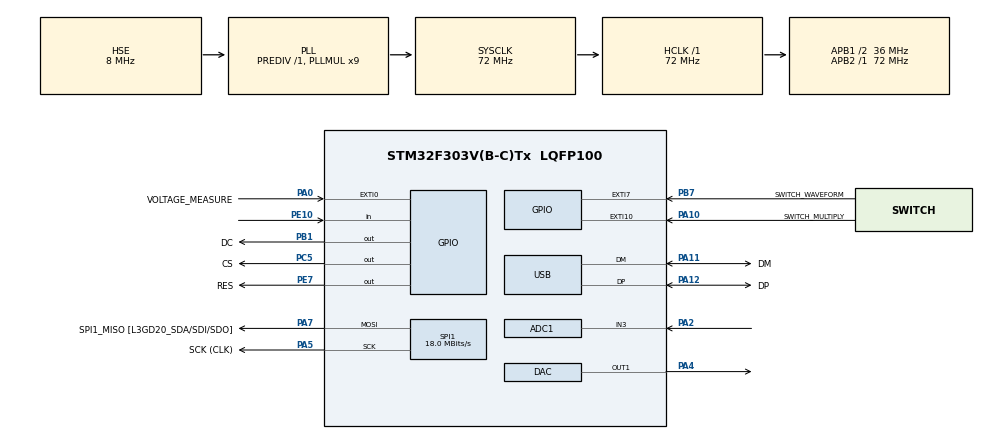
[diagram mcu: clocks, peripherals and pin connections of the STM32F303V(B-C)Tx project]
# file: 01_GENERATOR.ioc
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ADC1.Channel-2\#ChannelRegularConversion=ADC_CHANNEL_3
ADC1.ClockPrescaler=ADC_CLOCK_ASYNC_DIV1
ADC1.ContinuousConvMode=DISABLE
ADC1.DMAContinuousRequests=DISABLE
ADC1.NbrOfConversionFlag=1
ADC1.Offset-2\#ChannelRegularConversion=0
ADC1.OffsetNumber-2\#ChannelRegularConversion=ADC_OFFSET_NONE
ADC1.Rank-2\#ChannelRegularConversion=1
ADC1.SamplingTime-2\#ChannelRegularConversion=ADC_SAMPLETIME_1CYCLE_5
ADC1.master=1
DAC.DAC_Trigger=DAC_TRIGGER_T6_TRGO
Dma.DAC_CH1.0.Direction=DMA_MEMORY_TO_PERIPH
Dma.DAC_CH1.0.Instance=DMA1_Channel3
Dma.DAC_CH1.0.MemDataAlignment=DMA_MDATAALIGN_WORD
Dma.DAC_CH1.0.MemInc=DMA_MINC_ENABLE
Dma.DAC_CH1.0.Mode=DMA_CIRCULAR
Dma.DAC_CH1.0.PeriphDataAlignment=DMA_PDATAALIGN_WORD
Dma.DAC_CH1.0.PeriphInc=DMA_PINC_DISABLE
Dma.DAC_CH1.0.Priority=DMA_PRIORITY_LOW
Dma.Request0=DAC_CH1
Mcu.Family=STM32F3
Mcu.Name=STM32F303V(B-C)Tx
Mcu.Package=LQFP100
NVIC.DMA1_Channel3_IRQn=true\:0\:0\:false\:false\:true\:false\:true
NVIC.EXTI0_IRQn=true\:0\:0\:false\:false\:true\:true\:true
NVIC.EXTI15_10_IRQn=true\:0\:0\:false\:false\:true\:true\:true
NVIC.EXTI9_5_IRQn=true\:0\:0\:false\:false\:true\:true\:true
NVIC.PriorityGroup=NVIC_PRIORITYGROUP_0
NVIC.TIM6_DAC_IRQn=true\:0\:0\:false\:false\:true\:true\:true
PA0.GPIO_Label=VOLTAGE_MEASURE
PA0.GPIO_ModeDefaultEXTI=GPIO_MODE_IT_FALLING
PA0.Signal=GPXTI0
PA10.GPIO_Label=SWITCH_MULTIPLY
PA10.GPIO_ModeDefaultEXTI=GPIO_MODE_IT_FALLING
PA10.Signal=GPXTI10
PA11.GPIO_Label=DM
PA11.Mode=Device
PA11.Signal=USB_DM
PA12.GPIO_Label=DP
PA12.Mode=Device
PA12.Signal=USB_DP
PA13.GPIO_Label=SWDIO
PA13.Mode=Serial_Wire
PA13.Signal=SYS_JTMS-SWDIO
PA14.GPIO_Label=SWCLK
PA14.Mode=Serial_Wire
PA14.Signal=SYS_JTCK-SWCLK
PA2.Mode=IN3-Single-Ended
PA2.Signal=ADC1_IN3
PA4.Signal=COMP_DAC1_group
PA5.GPIO_Label=SCK (CLK)
PA5.Mode=TX_Only_Simplex_Unidirect_Master
PA5.Signal=SPI1_SCK
PA6.GPIO_Label=SPI1_MISO [L3GD20_SA0/SDO]
PA6.Signal=SPI1_MISO
PA7.GPIO_Label=SPI1_MISO [L3GD20_SDA/SDI/SDO]
PA7.Mode=TX_Only_Simplex_Unidirect_Master
PA7.Signal=SPI1_MOSI
PB1.GPIO_Label=DC
PB1.Signal=GPIO_Output
PB3.GPIO_Label=SWO
PB3.Signal=SYS_JTDO-TRACESWO
PB7.GPIO_Label=SWITCH_WAVEFORM
PB7.GPIO_ModeDefaultEXTI=GPIO_MODE_IT_FALLING
PB7.Signal=GPXTI7
PC14-OSC32_IN.GPIO_Label=OSC32_IN
PC14-OSC32_IN.Signal=RCC_OSC32_IN
PC15-OSC32_OUT.GPIO_Label=OSC32_OUT
PC15-OSC32_OUT.Signal=RCC_OSC32_OUT
PC5.GPIO_Label=CS
PC5.Signal=GPIO_Output
PE10.Signal=GPIO_Input
PE11.Signal=S_TIM1_CH2
PE7.GPIO_Label=RES
PE7.Signal=GPIO_Output
PE9.Signal=S_TIM1_CH1
PF0-OSC_IN.GPIO_Label=OSC_IN
PF0-OSC_IN.Mode=HSE-External-Oscillator
PF0-OSC_IN.Signal=RCC_OSC_IN
PF1-OSC_OUT.GPIO_Label=OSC_OUT
PF1-OSC_OUT.Mode=HSE-External-Oscillator
PF1-OSC_OUT.Signal=RCC_OSC_OUT
ProjectManager.HeapSize=0x200
ProjectManager.StackSize=0x400
ProjectManager.TargetToolchain=STM32CubeIDE
RCC.AHBFreq_Value=72000000
RCC.APB1CLKDivider=RCC_HCLK_DIV2
RCC.APB1Freq_Value=36000000
RCC.APB1TimFreq_Value=72000000
RCC.APB2Freq_Value=72000000
RCC.APB2TimFreq_Value=72000000
RCC.CortexFreq_Value=72000000
RCC.HCLKFreq_Value=72000000
RCC.HSE_VALUE=8000000
RCC.HSI_VALUE=8000000
RCC.LSE_VALUE=32768
RCC.PLLMUL=RCC_PLL_MUL9
RCC.PRESCALERUSB=RCC_USBCLKSOURCE_PLL_DIV1_5
RCC.SYSCLKFreq_VALUE=72000000
RCC.SYSCLKSourceVirtual=RCC_SYSCLKSOURCE_PLLCLK
RCC.USBFreq_Value=48000000
SH.COMP_DAC1_group.0=DAC_OUT1,DAC_OUT1
SH.S_TIM1_CH1.0=TIM1_CH1
SH.S_TIM1_CH2.0=TIM1_CH2
SPI1.BaudRatePrescaler=SPI_BAUDRATEPRESCALER_4
SPI1.CLKPhase=SPI_PHASE_2EDGE
SPI1.CLKPolarity=SPI_POLARITY_HIGH
SPI1.CalculateBaudRate=18.0 MBits/s
SPI1.DataSize=SPI_DATASIZE_8BIT
SPI1.Direction=SPI_DIRECTION_2LINES
SPI1.Mode=SPI_MODE_MASTER
SPI1.VirtualType=VM_MASTER
TIM6.Period=10-1
TIM6.Prescaler=72-1
TIM6.TIM_MasterOutputTrigger=TIM_TRGO_UPDATE
VP_TIM6_VS_ClockSourceINT.Mode=Enable_Timer
board=STM32F3DISCOVERY

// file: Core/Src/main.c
/* USER CODE BEGIN Header */
/**
  ******************************************************************************
  * @file           : main.c
  * @brief          : Main program body
  ******************************************************************************
  * @attention
  *
  * <h2><center>&copy; Copyright (c) 2021 STMicroelectronics.
  * All rights reserved.</center></h2>
  *
  * This software component is licensed by ST under BSD 3-Clause license,
  * the "License"; You may not use this file except in compliance with the
  * License. You may obtain a copy of the License at:
  *                        opensource.org/licenses/BSD-3-Clause
  *
  ******************************************************************************
  */
/* USER CODE END Header */
#include "main.h"

/* USER CODE BEGIN Includes */

#include "SSD1331.h"
#include "math.h"

/* USER CODE END Includes */

/* USER CODE BEGIN PM */
#define PI 3.14159265

/* USER CODE END PM */

ADC_HandleTypeDef hadc1;

DAC_HandleTypeDef hdac;
DMA_HandleTypeDef hdma_dac_ch1;

SPI_HandleTypeDef hspi1;

TIM_HandleTypeDef htim6;

PCD_HandleTypeDef hpcd_USB_FS;

/* USER CODE BEGIN PV */
//zmienne do przerwań
static uint8_t waveformCounter = 0; //zmienna do zmiany kształtu przebiegu
static uint8_t multiply = 0; //mnożnik częstotliwości

//zmienne dla adc
uint16_t adc_value = 0;
float voltage_conversion_num = 0;
float voltage_conversion_denum = 0;
float maximum_num = 0;
float maximum_denum = 0;
float nearest = 0.0;
const float supply_voltage = 3.0;
const float adc_resolution = 4095.0;
uint16_t i, j;
static uint8_t adc_counter = 0;
int d, adc_array_num[10], adc_array_denum[10], location;
uint8_t size = 10;

uint16_t changed_freq = 0;
int actual_freq = 1;
int last_freq = 0;

uint32_t switch_waveform_table[1024];

uint32_t squareTable[1024];

/* USER CODE END PV */

void SystemClock_Config(void);
static void MX_GPIO_Init(void);
static void MX_DMA_Init(void);
static void MX_SPI1_Init(void);
static void MX_USB_PCD_Init(void);
static void MX_DAC_Init(void);
static void MX_TIM6_Init(void);
static void MX_ADC1_Init(void);
/* USER CODE BEGIN PFP */

void freq_change(uint8_t multiply);
int find_max(int[], int);

const uint32_t sineTable[1024] = {2048,2060,2073,2085,2098,2110,2123,2136,2148,2161,
		2173,2186,2198,2211,2223,2236,2248,2261,2273,2286,
		2298,2311,2323,2336,2348,2361,2373,2385,2398,2410,
		2423,2435,2447,2460,2472,2484,2497,2509,2521,2533,
		2545,2558,2570,2582,2594,2606,2618,2630,2642,2654,
		2666,2678,2690,2702,2714,2726,2738,2750,2762,2773,
		2785,2797,2808,2820,2832,2843,2855,2866,2878,2889,
		2901,2912,2924,2935,2946,2958,2969,2980,2991,3002,
		3014,3025,3036,3047,3058,3069,3079,3090,3101,3112,
		3123,3133,3144,3154,3165,3176,3186,3196,3207,3217,
		3227,3238,3248,3258,3268,3278,3288,3298,3308,3318,
		3328,3338,3347,3357,3367,3376,3386,3395,3405,3414,
		3424,3433,3442,3451,3460,3470,3479,3487,3496,3505,
		3514,3523,3532,3540,3549,3557,3566,3574,3582,3591,
		3599,3607,3615,3623,3631,3639,3647,3655,3663,3670,
		3678,3686,3693,3701,3708,3715,3723,3730,3737,3744,
		3751,3758,3765,3772,3778,3785,3792,3798,3805,3811,
		3818,3824,3830,3836,3842,3848,3854,3860,3866,3872,
		3877,3883,3889,3894,3899,3905,3910,3915,3920,3925,
		3930,3935,3940,3945,3949,3954,3959,3963,3968,3972,
		3976,3980,3984,3988,3992,3996,4000,4004,4008,4011,
		4015,4018,4022,4025,4028,4031,4034,4037,4040,4043,
		4046,4049,4051,4054,4056,4059,4061,4063,4065,4067,
		4069,4071,4073,4075,4077,4078,4080,4081,4083,4084,
		4085,4087,4088,4089,4090,4091,4091,4092,4093,4093,
		4094,4094,4094,4095,4095,4095,4095,4095,4095,4095,
		4094,4094,4093,4093,4092,4092,4091,4090,4089,4088,
		4087,4086,4085,4084,4082,4081,4079,4078,4076,4074,
		4072,4070,4068,4066,4064,4062,4060,4057,4055,4052,
		4050,4047,4044,4042,4039,4036,4033,4030,4026,4023,
		4020,4016,4013,4009,4006,4002,3998,3994,3990,3986,
		3982,3978,3974,3970,3965,3961,3956,3952,3947,3942,
		3938,3933,3928,3923,3918,3913,3907,3902,3897,3891,
		3886,3880,3875,3869,3863,3857,3851,3845,3839,3833,
		3827,3821,3814,3808,3802,3795,3788,3782,3775,3768,
		3761,3755,3748,3740,3733,3726,3719,3712,3704,3697,
		3689,3682,3674,3667,3659,3651,3643,3635,3627,3619,
		3611,3603,3595,3587,3578,3570,3561,3553,3544,3536,
		3527,3518,3510,3501,3492,3483,3474,3465,3456,3447,
		3438,3428,3419,3410,3400,3391,3381,3372,3362,3352,
		3343,3333,3323,3313,3303,3293,3283,3273,3263,3253,
		3243,3233,3222,3212,3202,3191,3181,3170,3160,3149,
		3139,3128,3117,3106,3096,3085,3074,3063,3052,3041,
		3030,3019,3008,2997,2986,2975,2963,2952,2941,2929,
		2918,2907,2895,2884,2872,2861,2849,2838,2826,2814,
		2803,2791,2779,2767,2756,2744,2732,2720,2708,2696,
		2684,2672,2660,2648,2636,2624,2612,2600,2588,2576,
		2564,2552,2539,2527,2515,2503,2490,2478,2466,2453,
		2441,2429,2416,2404,2392,2379,2367,2354,2342,2330,
		2317,2305,2292,2280,2267,2255,2242,2230,2217,2205,
		2192,2179,2167,2154,2142,2129,2117,2104,2092,2079,
		2066,2054,2041,2029,2016,2003,1991,1978,1966,1953,
		1941,1928,1916,1903,1890,1878,1865,1853,1840,1828,
		1815,1803,1790,1778,1765,1753,1741,1728,1716,1703,
		1691,1679,1666,1654,1642,1629,1617,1605,1592,1580,
		1568,1556,1543,1531,1519,1507,1495,1483,1471,1459,
		1447,1435,1423,1411,1399,1387,1375,1363,1351,1339,
		1328,1316,1304,1292,1281,1269,1257,1246,1234,1223,
		1211,1200,1188,1177,1166,1154,1143,1132,1120,1109,
		1098,1087,1076,1065,1054,1043,1032,1021,1010,999,
		989,978,967,956,946,935,925,914,904,893,
		883,873,862,852,842,832,822,812,802,792,
		782,772,762,752,743,733,723,714,704,695,
		685,676,667,657,648,639,630,621,612,603,
		594,585,577,568,559,551,542,534,525,517,
		508,500,492,484,476,468,460,452,444,436,
		428,421,413,406,398,391,383,376,369,362,
		355,347,340,334,327,320,313,307,300,293,
		287,281,274,268,262,256,250,244,238,232,
		226,220,215,209,204,198,193,188,182,177,
		172,167,162,157,153,148,143,139,134,130,
		125,121,117,113,109,105,101,97,93,89,
		86,82,79,75,72,69,65,62,59,56,
		53,51,48,45,43,40,38,35,33,31,
		29,27,25,23,21,19,17,16,14,13,
		11,10,9,8,7,6,5,4,3,3,
		2,2,1,1,0,0,0,0,0,0,
		0,1,1,1,2,2,3,4,4,5,
		6,7,8,10,11,12,14,15,17,18,
		20,22,24,26,28,30,32,34,36,39,
		41,44,46,49,52,55,58,61,64,67,
		70,73,77,80,84,87,91,95,99,103,
		107,111,115,119,123,127,132,136,141,146,
		150,155,160,165,170,175,180,185,190,196,
		201,206,212,218,223,229,235,241,247,253,
		259,265,271,277,284,290,297,303,310,317,
		323,330,337,344,351,358,365,372,380,387,
		394,402,409,417,425,432,440,448,456,464,
		472,480,488,496,504,513,521,529,538,546,
		555,563,572,581,590,599,608,616,625,635,
		644,653,662,671,681,690,700,709,719,728,
		738,748,757,767,777,787,797,807,817,827,
		837,847,857,868,878,888,899,909,919,930,
		941,951,962,972,983,994,1005,1016,1026,1037,
		1048,1059,1070,1081,1093,1104,1115,1126,1137,1149,
		1160,1171,1183,1194,1206,1217,1229,1240,1252,1263,
		1275,1287,1298,1310,1322,1333,1345,1357,1369,1381,
		1393,1405,1417,1429,1441,1453,1465,1477,1489,1501,
		1513,1525,1537,1550,1562,1574,1586,1598,1611,1623,
		1635,1648,1660,1672,1685,1697,1710,1722,1734,1747,
		1759,1772,1784,1797,1809,1822,1834,1847,1859,1872,
		1884,1897,1909,1922,1934,1947,1959,1972,1985,1997,
		2010,2022,2035,2048};

const uint32_t triangleTable[1024] = {8,16,24,32,40,48,56,64,72,80,
		88,96,104,112,120,128,136,144,152,160,
		168,176,184,192,200,208,216,224,232,240,
		248,256,264,272,280,288,296,304,312,320,
		328,336,344,352,360,368,376,384,392,400,
		408,416,424,432,440,448,456,464,472,480,
		488,496,504,512,520,528,536,544,552,560,
		568,576,584,592,600,608,616,624,632,640,
		648,656,664,672,680,689,697,705,713,721,
		729,737,745,753,761,769,777,785,793,801,
		809,817,825,833,841,849,857,865,873,881,
		889,897,905,913,921,929,937,945,953,961,
		969,977,985,993,1001,1009,1017,1025,1033,1041,
		1049,1057,1065,1073,1081,1089,1097,1105,1113,1121,
		1129,1137,1145,1153,1161,1169,1177,1185,1193,1201,
		1209,1217,1225,1233,1241,1249,1257,1265,1273,1281,
		1289,1297,1305,1313,1321,1329,1337,1345,1353,1361,
		1369,1377,1385,1393,1401,1409,1417,1425,1433,1441,
		1449,1457,1465,1473,1481,1489,1497,1505,1513,1521,
		1529,1537,1545,1553,1561,1569,1577,1585,1593,1601,
		1609,1617,1625,1633,1641,1649,1657,1665,1673,1681,
		1689,1697,1705,1713,1721,1729,1737,1745,1753,1761,
		1769,1777,1785,1793,1801,1809,1817,1825,1833,1841,
		1849,1857,1865,1873,1881,1889,1897,1905,1913,1921,
		1929,1937,1945,1953,1961,1969,1977,1985,1993,2001,
		2009,2017,2025,2033,2041,2050,2058,2066,2074,2082,
		2090,2098,2106,2114,2122,2130,2138,2146,2154,2162,
		2170,2178,2186,2194,2202,2210,2218,2226,2234,2242,
		2250,2258,2266,2274,2282,2290,2298,2306,2314,2322,
		2330,2338,2346,2354,2362,2370,2378,2386,2394,2402,
		2410,2418,2426,2434,2442,2450,2458,2466,2474,2482,
		2490,2498,2506,2514,2522,2530,2538,2546,2554,2562,
		2570,2578,2586,2594,2602,2610,2618,2626,2634,2642,
		2650,2658,2666,2674,2682,2690,2698,2706,2714,2722,
		2730,2738,2746,2754,2762,2770,2778,2786,2794,2802,
		2810,2818,2826,2834,2842,2850,2858,2866,2874,2882,
		2890,2898,2906,2914,2922,2930,2938,2946,2954,2962,
		2970,2978,2986,2994,3002,3010,3018,3026,3034,3042,
		3050,3058,3066,3074,3082,3090,3098,3106,3114,3122,
		3130,3138,3146,3154,3162,3170,3178,3186,3194,3202,
		3210,3218,3226,3234,3242,3250,3258,3266,3274,3282,
		3290,3298,3306,3314,3322,3330,3338,3346,3354,3362,
		3370,3378,3386,3394,3402,3410,3419,3427,3435,3443,
		3451,3459,3467,3475,3483,3491,3499,3507,3515,3523,
		3531,3539,3547,3555,3563,3571,3579,3587,3595,3603,
		3611,3619,3627,3635,3643,3651,3659,3667,3675,3683,
		3691,3699,3707,3715,3723,3731,3739,3747,3755,3763,
		3771,3779,3787,3795,3803,3811,3819,3827,3835,3843,
		3851,3859,3867,3875,3883,3891,3899,3907,3915,3923,
		3931,3939,3947,3955,3963,3971,3979,3987,3995,4003,
		4011,4019,4027,4035,4043,4051,4059,4067,4075,4083,
		4091,4095,4091,4083,4075,4067,4059,4051,4043,4035,
		4027,4019,4011,4003,3995,3987,3979,3971,3963,3955,
		3947,3939,3931,3923,3915,3907,3899,3891,3883,3875,
		3867,3859,3851,3843,3835,3827,3819,3811,3803,3795,
		3787,3779,3771,3763,3755,3747,3739,3731,3723,3715,
		3707,3699,3691,3683,3675,3667,3659,3651,3643,3635,
		3627,3619,3611,3603,3595,3587,3579,3571,3563,3555,
		3547,3539,3531,3523,3515,3507,3499,3491,3483,3475,
		3467,3459,3451,3443,3435,3427,3419,3410,3402,3394,
		3386,3378,3370,3362,3354,3346,3338,3330,3322,3314,
		3306,3298,3290,3282,3274,3266,3258,3250,3242,3234,
		3226,3218,3210,3202,3194,3186,3178,3170,3162,3154,
		3146,3138,3130,3122,3114,3106,3098,3090,3082,3074,
		3066,3058,3050,3042,3034,3026,3018,3010,3002,2994,
		2986,2978,2970,2962,2954,2946,2938,2930,2922,2914,
		2906,2898,2890,2882,2874,2866,2858,2850,2842,2834,
		2826,2818,2810,2802,2794,2786,2778,2770,2762,2754,
		2746,2738,2730,2722,2714,2706,2698,2690,2682,2674,
		2666,2658,2650,2642,2634,2626,2618,2610,2602,2594,
		2586,2578,2570,2562,2554,2546,2538,2530,2522,2514,
		2506,2498,2490,2482,2474,2466,2458,2450,2442,2434,
		2426,2418,2410,2402,2394,2386,2378,2370,2362,2354,
		2346,2338,2330,2322,2314,2306,2298,2290,2282,2274,
		2266,2258,2250,2242,2234,2226,2218,2210,2202,2194,
		2186,2178,2170,2162,2154,2146,2138,2130,2122,2114,
		2106,2098,2090,2082,2074,2066,2058,2050,2041,2033,
		2025,2017,2009,2001,1993,1985,1977,1969,1961,1953,
		1945,1937,1929,1921,1913,1905,1897,1889,1881,1873,
		1865,1857,1849,1841,1833,1825,1817,1809,1801,1793,
		1785,1777,1769,1761,1753,1745,1737,1729,1721,1713,
		1705,1697,1689,1681,1673,1665,1657,1649,1641,1633,
		1625,1617,1609,1601,1593,1585,1577,1569,1561,1553,
		1545,1537,1529,1521,1513,1505,1497,1489,1481,1473,
		1465,1457,1449,1441,1433,1425,1417,1409,1401,1393,
		1385,1377,1369,1361,1353,1345,1337,1329,1321,1313,
		1305,1297,1289,1281,1273,1265,1257,1249,1241,1233,
		1225,1217,1209,1201,1193,1185,1177,1169,1161,1153,
		1145,1137,1129,1121,1113,1105,1097,1089,1081,1073,
		1065,1057,1049,1041,1033,1025,1017,1009,1001,993,
		985,977,969,961,953,945,937,929,921,913,
		905,897,889,881,873,865,857,849,841,833,
		825,817,809,801,793,785,777,769,761,753,
		745,737,729,721,713,705,697,689,680,672,
		664,656,648,640,632,624,616,608,600,592,
		584,576,568,560,552,544,536,528,520,512,
		504,496,488,480,472,464,456,448,440,432,
		424,416,408,400,392,384,376,368,360,352,
		344,336,328,320,312,304,296,288,280,272,
		264,256,248,240,232,224,216,208,200,192,
		184,176,168,160,152,144,136,128,120,112,
		104,96,88,80,72,64,56,48,40,32,
		24,16,8,0};

void square_fill()
{
	for(int i = 0 ; i<1024; i++)
	{
		if(i<512){
			squareTable[i] = 0xfff; //4095
		}
		else
			squareTable[i] = 0;
	}
}

int find_max(int a[], int n) {
	int index = 0;

	for (int d = 1; d < n; d++)
		    if (a[d] > a[index])
		      index = d;

	return index;
}

//procedura obsługi przerwania dla przycisków od wybrania przebiegu oraz zmiany mnożnika częstotliwości
void HAL_GPIO_EXTI_Callback(uint16_t GPIO_Pin){
		if(GPIO_Pin == SWITCH_WAVEFORM_Pin){
			//generacja przebiegu sinusoidalnego
			if(waveformCounter == 0){
				ssd1331_clear_shape(BLACK);
				for (uint16_t i = 0; i < 1024; i++){
					switch_waveform_table[i] = sineTable[i];
					ssd1331_display_string(30, 45, (const uint8_t*)"SINE", FONT_1608, GREEN);
				}
			}
			//generacja przebiegu prostokątnego
			else if(waveformCounter == 1){
				ssd1331_clear_shape(BLACK);
				for (uint16_t i = 0; i < 1024; i++){
					switch_waveform_table[i] = squareTable[i];
					ssd1331_display_string(30, 45, (const uint8_t*)"SQUARE", FONT_1608, GREEN);
				}
			}
			//generacja przebiegu trójkątnego
			else if(waveformCounter == 2){
				ssd1331_clear_shape(BLACK);
				for (uint16_t i = 0; i < 1024; i++){
					switch_waveform_table[i] = triangleTable[i];
					ssd1331_display_string(30, 45, (const uint8_t*)"TRIANGLE", FONT_1608, GREEN);
				}
			}

			waveformCounter++;
			if(waveformCounter > 2){
				waveformCounter = 0;
			}
		}

		if(GPIO_Pin == SWITCH_MULTIPLY_Pin){
			if(multiply == 0){
				ssd1331_clear_freq(BLACK);
				ssd1331_clear_multiply(BLACK);
				freq_change(multiply); //zmiana nastaw timera6 -> zmiana częstotliwości przebiegu
				ssd1331_display_num(40, 15, 1, 5, FONT_1608, GREEN);
				ssd1331_display_num(50, 30, multiply, 1 , FONT_1608, GREEN);
			}
			else if(multiply == 1){
				ssd1331_clear_freq(BLACK);
				ssd1331_clear_multiply(BLACK);
				freq_change(multiply); //zmiana nastaw timera6 -> zmiana częstotliwości przebiegu
				ssd1331_display_num(40, 15, 10, 5, FONT_1608, GREEN);
				ssd1331_display_num(50, 30, multiply, 1 , FONT_1608, GREEN);
			}
			else if(multiply == 2){
				ssd1331_clear_freq(BLACK);
				ssd1331_clear_multiply(BLACK);
				freq_change(multiply); //zmiana nastaw timera6 -> zmiana częstotliwości przebiegu
				ssd1331_display_num(40, 15, 100, 5, FONT_1608, GREEN);
				ssd1331_display_num(50, 30, multiply, 1 , FONT_1608, GREEN);
			}
			else if(multiply == 3){
				ssd1331_clear_freq(BLACK);
				ssd1331_clear_multiply(BLACK);
				freq_change(multiply); //zmiana nastaw timera6 -> zmiana częstotliwości przebiegu
				ssd1331_display_num(40, 15, 1000, 5, FONT_1608, GREEN);
				ssd1331_display_num(50, 30, multiply, 1 , FONT_1608, GREEN);
			}
			multiply++;
			if(multiply == 4){
				multiply = 0;
			}
		}
		if(GPIO_Pin == VOLTAGE_MEASURE_Pin){
			ssd1331_clear_amp(BLACK);

			if (HAL_ADC_PollForConversion(&hadc1, 10) == HAL_OK) { // Oczekiwanie na zakonczenie konwersji
				adc_value = HAL_ADC_GetValue(&hadc1);// Pobranie zmierzonej wartosci
				voltage_conversion_num = (supply_voltage*adc_value)/adc_resolution;// Przeliczenie wartosci zmierzonej na napiecie
				nearest = roundf(voltage_conversion_num * 100) / 100;
				voltage_conversion_denum = (uint16_t)(nearest*100) % 100;
				HAL_ADC_Start(&hadc1);// Rozpoczecie nowej konwersji
			}

			adc_array_num[adc_counter] = voltage_conversion_num;
			adc_array_denum[adc_counter] = voltage_conversion_denum;

			adc_counter++;
			if(adc_counter == 10){
				adc_counter = 0;

				location = find_max(adc_array_num, size);
				maximum_num  = adc_array_num[location];

				location = find_max(adc_array_denum, size);
				maximum_denum  = adc_array_denum[location];

				ssd1331_display_num(32, 0, maximum_num, 2 , FONT_1608, GREEN);
				ssd1331_display_char(48, 0, '.', FONT_1608, GREEN);
				ssd1331_display_num(51, 0, maximum_denum, 2 , FONT_1608, GREEN);
				ssd1331_display_char(70, 0, 'V', FONT_1608, GREEN);

				for(int i=0; i<10; i++){
					adc_array_num[i] = 0;
					adc_array_denum[i] = 0;
				}

			}
		}

}

void freq_change(uint8_t multiply)
{
	switch (multiply)
	{
	case 0: //1 Hz
		TIM6->PSC = 6;
		TIM6->ARR = 10085;
		TIM6->CNT = 0;
		break;
	case 1: //10 Hz
		TIM6->PSC = 7;
		TIM6->ARR = 878;
		TIM6->CNT = 0;
		break;
	case 2: //100 Hz
		TIM6->PSC = 7;
		TIM6->ARR = 87;
		TIM6->CNT = 0;
		break;
	case 3: //1000 Hz
		TIM6->PSC = 6;
		TIM6->ARR = 9;
		TIM6->CNT = 0;
		break;
	default:
		break;
	}
}

/* USER CODE END PFP */

int main(void)
{

  /* MCU Configuration--------------------------------------------------------*/

  /* Reset of all peripherals, Initializes the Flash interface and the Systick. */
  HAL_Init();

  /* Configure the system clock */
  SystemClock_Config();

  /* Initialize all configured peripherals */
  MX_GPIO_Init();
  MX_DMA_Init();
  MX_SPI1_Init();
  MX_USB_PCD_Init();
  MX_DAC_Init();
  MX_TIM6_Init();
  MX_ADC1_Init();
  /* USER CODE BEGIN 2 */

  square_fill();

  HAL_TIM_Base_Start(&htim6); //uruchomienie timer6 od DAC

  ssd1331_init();
  ssd1331_clear_screen(BLACK);
  ssd1331_display_string(0, 0, (const uint8_t*)"VPP: ", FONT_1608, GREEN);
  ssd1331_display_string(0, 15, (const uint8_t*)"FREQ: ", FONT_1608, GREEN);
  ssd1331_display_string(0, 30, (const uint8_t*)"MUL: ", FONT_1608, GREEN);
  ssd1331_display_string(0, 45, (const uint8_t*)"SW: ", FONT_1608, GREEN);
  ssd1331_display_string(80, 15, (const uint8_t*)"Hz ", FONT_1608, GREEN);

  HAL_ADC_Start(&hadc1);

  /* USER CODE END 2 */

  /* Infinite loop */
  /* USER CODE BEGIN WHILE */
  while (1)
  {
	  HAL_DAC_Start_DMA(&hdac, DAC_CHANNEL_1, (uint32_t*)switch_waveform_table, 1023, DAC_ALIGN_12B_R); //generacja określonego przebiegu o określonej częstotliwości

    /* USER CODE END WHILE */

  }
}

void SystemClock_Config(void)
{
  RCC_OscInitTypeDef RCC_OscInitStruct = {0};
  RCC_ClkInitTypeDef RCC_ClkInitStruct = {0};
  RCC_PeriphCLKInitTypeDef PeriphClkInit = {0};

  /** Initializes the RCC Oscillators according to the specified parameters
  * in the RCC_OscInitTypeDef structure.
  */
  RCC_OscInitStruct.OscillatorType = RCC_OSCILLATORTYPE_HSE;
  RCC_OscInitStruct.HSEState = RCC_HSE_ON;
  RCC_OscInitStruct.HSEPredivValue = RCC_HSE_PREDIV_DIV1;
  RCC_OscInitStruct.HSIState = RCC_HSI_ON;
  RCC_OscInitStruct.PLL.PLLState = RCC_PLL_ON;
  RCC_OscInitStruct.PLL.PLLSource = RCC_PLLSOURCE_HSE;
  RCC_OscInitStruct.PLL.PLLMUL = RCC_PLL_MUL9;
  if (HAL_RCC_OscConfig(&RCC_OscInitStruct) != HAL_OK)
  {
    Error_Handler();
  }
  /** Initializes the CPU, AHB and APB buses clocks
  */
  RCC_ClkInitStruct.ClockType = RCC_CLOCKTYPE_HCLK|RCC_CLOCKTYPE_SYSCLK
                              |RCC_CLOCKTYPE_PCLK1|RCC_CLOCKTYPE_PCLK2;
  RCC_ClkInitStruct.SYSCLKSource = RCC_SYSCLKSOURCE_PLLCLK;
  RCC_ClkInitStruct.AHBCLKDivider = RCC_SYSCLK_DIV1;
  RCC_ClkInitStruct.APB1CLKDivider = RCC_HCLK_DIV2;
  RCC_ClkInitStruct.APB2CLKDivider = RCC_HCLK_DIV1;

  if (HAL_RCC_ClockConfig(&RCC_ClkInitStruct, FLASH_LATENCY_2) != HAL_OK)
  {
    Error_Handler();
  }
  PeriphClkInit.PeriphClockSelection = RCC_PERIPHCLK_USB|RCC_PERIPHCLK_ADC12;
  PeriphClkInit.Adc12ClockSelection = RCC_ADC12PLLCLK_DIV1;
  PeriphClkInit.USBClockSelection = RCC_USBCLKSOURCE_PLL_DIV1_5;
  if (HAL_RCCEx_PeriphCLKConfig(&PeriphClkInit) != HAL_OK)
  {
    Error_Handler();
  }
}

static void MX_ADC1_Init(void)
{

  ADC_MultiModeTypeDef multimode = {0};
  ADC_ChannelConfTypeDef sConfig = {0};

  /** Common config
  */
  hadc1.Instance = ADC1;
  hadc1.Init.ClockPrescaler = ADC_CLOCK_ASYNC_DIV1;
  hadc1.Init.Resolution = ADC_RESOLUTION_12B;
  hadc1.Init.ScanConvMode = ADC_SCAN_DISABLE;
  hadc1.Init.ContinuousConvMode = DISABLE;
  hadc1.Init.DiscontinuousConvMode = DISABLE;
  hadc1.Init.ExternalTrigConvEdge = ADC_EXTERNALTRIGCONVEDGE_NONE;
  hadc1.Init.ExternalTrigConv = ADC_SOFTWARE_START;
  hadc1.Init.DataAlign = ADC_DATAALIGN_RIGHT;
  hadc1.Init.NbrOfConversion = 1;
  hadc1.Init.DMAContinuousRequests = DISABLE;
  hadc1.Init.EOCSelection = ADC_EOC_SINGLE_CONV;
  hadc1.Init.LowPowerAutoWait = DISABLE;
  hadc1.Init.Overrun = ADC_OVR_DATA_OVERWRITTEN;
  if (HAL_ADC_Init(&hadc1) != HAL_OK)
  {
    Error_Handler();
  }
  /** Configure the ADC multi-mode
  */
  multimode.Mode = ADC_MODE_INDEPENDENT;
  if (HAL_ADCEx_MultiModeConfigChannel(&hadc1, &multimode) != HAL_OK)
  {
    Error_Handler();
  }
  /** Configure Regular Channel
  */
  sConfig.Channel = ADC_CHANNEL_3;
  sConfig.Rank = ADC_REGULAR_RANK_1;
  sConfig.SingleDiff = ADC_SINGLE_ENDED;
  sConfig.SamplingTime = ADC_SAMPLETIME_1CYCLE_5;
  sConfig.OffsetNumber = ADC_OFFSET_NONE;
  sConfig.Offset = 0;
  if (HAL_ADC_ConfigChannel(&hadc1, &sConfig) != HAL_OK)
  {
    Error_Handler();
  }

}

static void MX_DAC_Init(void)
{

  DAC_ChannelConfTypeDef sConfig = {0};

  /** DAC Initialization
  */
  hdac.Instance = DAC;
  if (HAL_DAC_Init(&hdac) != HAL_OK)
  {
    Error_Handler();
  }
  /** DAC channel OUT1 config
  */
  sConfig.DAC_Trigger = DAC_TRIGGER_T6_TRGO;
  sConfig.DAC_OutputBuffer = DAC_OUTPUTBUFFER_ENABLE;
  if (HAL_DAC_ConfigChannel(&hdac, &sConfig, DAC_CHANNEL_1) != HAL_OK)
  {
    Error_Handler();
  }

}

static void MX_SPI1_Init(void)
{

  /* SPI1 parameter configuration*/
  hspi1.Instance = SPI1;
  hspi1.Init.Mode = SPI_MODE_MASTER;
  hspi1.Init.Direction = SPI_DIRECTION_2LINES;
  hspi1.Init.DataSize = SPI_DATASIZE_8BIT;
  hspi1.Init.CLKPolarity = SPI_POLARITY_HIGH;
  hspi1.Init.CLKPhase = SPI_PHASE_2EDGE;
  hspi1.Init.NSS = SPI_NSS_SOFT;
  hspi1.Init.BaudRatePrescaler = SPI_BAUDRATEPRESCALER_4;
  hspi1.Init.FirstBit = SPI_FIRSTBIT_MSB;
  hspi1.Init.TIMode = SPI_TIMODE_DISABLE;
  hspi1.Init.CRCCalculation = SPI_CRCCALCULATION_DISABLE;
  hspi1.Init.CRCPolynomial = 7;
  hspi1.Init.CRCLength = SPI_CRC_LENGTH_DATASIZE;
  hspi1.Init.NSSPMode = SPI_NSS_PULSE_DISABLE;
  if (HAL_SPI_Init(&hspi1) != HAL_OK)
  {
    Error_Handler();
  }

}

static void MX_TIM6_Init(void)
{

  TIM_MasterConfigTypeDef sMasterConfig = {0};

  htim6.Instance = TIM6;
  htim6.Init.Prescaler = 72-1;
  htim6.Init.CounterMode = TIM_COUNTERMODE_UP;
  htim6.Init.Period = 10-1;
  htim6.Init.AutoReloadPreload = TIM_AUTORELOAD_PRELOAD_DISABLE;
  if (HAL_TIM_Base_Init(&htim6) != HAL_OK)
  {
    Error_Handler();
  }
  sMasterConfig.MasterOutputTrigger = TIM_TRGO_UPDATE;
  sMasterConfig.MasterSlaveMode = TIM_MASTERSLAVEMODE_DISABLE;
  if (HAL_TIMEx_MasterConfigSynchronization(&htim6, &sMasterConfig) != HAL_OK)
  {
    Error_Handler();
  }

}

static void MX_USB_PCD_Init(void)
{

  hpcd_USB_FS.Instance = USB;
  hpcd_USB_FS.Init.dev_endpoints = 8;
  hpcd_USB_FS.Init.speed = PCD_SPEED_FULL;
  hpcd_USB_FS.Init.phy_itface = PCD_PHY_EMBEDDED;
  hpcd_USB_FS.Init.low_power_enable = DISABLE;
  hpcd_USB_FS.Init.battery_charging_enable = DISABLE;
  if (HAL_PCD_Init(&hpcd_USB_FS) != HAL_OK)
  {
    Error_Handler();
  }

}

static void MX_DMA_Init(void)
{

  /* DMA controller clock enable */
  __HAL_RCC_DMA1_CLK_ENABLE();

  /* DMA interrupt init */
  /* DMA1_Channel3_IRQn interrupt configuration */
  HAL_NVIC_SetPriority(DMA1_Channel3_IRQn, 0, 0);
  HAL_NVIC_EnableIRQ(DMA1_Channel3_IRQn);

}

static void MX_GPIO_Init(void)
{
  GPIO_InitTypeDef GPIO_InitStruct = {0};

  /* GPIO Ports Clock Enable */
  __HAL_RCC_GPIOC_CLK_ENABLE();
  __HAL_RCC_GPIOF_CLK_ENABLE();
  __HAL_RCC_GPIOA_CLK_ENABLE();
  __HAL_RCC_GPIOB_CLK_ENABLE();
  __HAL_RCC_GPIOE_CLK_ENABLE();

  /*Configure GPIO pin Output Level */
  HAL_GPIO_WritePin(CS_GPIO_Port, CS_Pin, GPIO_PIN_RESET);

  /*Configure GPIO pin Output Level */
  HAL_GPIO_WritePin(DC_GPIO_Port, DC_Pin, GPIO_PIN_RESET);

  /*Configure GPIO pin Output Level */
  HAL_GPIO_WritePin(RES_GPIO_Port, RES_Pin, GPIO_PIN_RESET);

  /*Configure GPIO pins : VOLTAGE_MEASURE_Pin SWITCH_MULTIPLY_Pin */
  GPIO_InitStruct.Pin = VOLTAGE_MEASURE_Pin|SWITCH_MULTIPLY_Pin;
  GPIO_InitStruct.Mode = GPIO_MODE_IT_FALLING;
  GPIO_InitStruct.Pull = GPIO_NOPULL;
  HAL_GPIO_Init(GPIOA, &GPIO_InitStruct);

  /*Configure GPIO pin : CS_Pin */
  GPIO_InitStruct.Pin = CS_Pin;
  GPIO_InitStruct.Mode = GPIO_MODE_OUTPUT_PP;
  GPIO_InitStruct.Pull = GPIO_NOPULL;
  GPIO_InitStruct.Speed = GPIO_SPEED_FREQ_LOW;
  HAL_GPIO_Init(CS_GPIO_Port, &GPIO_InitStruct);

  /*Configure GPIO pin : DC_Pin */
  GPIO_InitStruct.Pin = DC_Pin;
  GPIO_InitStruct.Mode = GPIO_MODE_OUTPUT_PP;
  GPIO_InitStruct.Pull = GPIO_NOPULL;
  GPIO_InitStruct.Speed = GPIO_SPEED_FREQ_LOW;
  HAL_GPIO_Init(DC_GPIO_Port, &GPIO_InitStruct);

  /*Configure GPIO pin : RES_Pin */
  GPIO_InitStruct.Pin = RES_Pin;
  GPIO_InitStruct.Mode = GPIO_MODE_OUTPUT_PP;
  GPIO_InitStruct.Pull = GPIO_NOPULL;
  GPIO_InitStruct.Speed = GPIO_SPEED_FREQ_LOW;
  HAL_GPIO_Init(RES_GPIO_Port, &GPIO_InitStruct);

  /*Configure GPIO pins : PE9 PE11 */
  GPIO_InitStruct.Pin = GPIO_PIN_9|GPIO_PIN_11;
  GPIO_InitStruct.Mode = GPIO_MODE_AF_PP;
  GPIO_InitStruct.Pull = GPIO_NOPULL;
  GPIO_InitStruct.Speed = GPIO_SPEED_FREQ_LOW;
  GPIO_InitStruct.Alternate = GPIO_AF2_TIM1;
  HAL_GPIO_Init(GPIOE, &GPIO_InitStruct);

  /*Configure GPIO pin : PE10 */
  GPIO_InitStruct.Pin = GPIO_PIN_10;
  GPIO_InitStruct.Mode = GPIO_MODE_INPUT;
  GPIO_InitStruct.Pull = GPIO_NOPULL;
  HAL_GPIO_Init(GPIOE, &GPIO_InitStruct);

  /*Configure GPIO pin : SWITCH_WAVEFORM_Pin */
  GPIO_InitStruct.Pin = SWITCH_WAVEFORM_Pin;
  GPIO_InitStruct.Mode = GPIO_MODE_IT_FALLING;
  GPIO_InitStruct.Pull = GPIO_NOPULL;
  HAL_GPIO_Init(SWITCH_WAVEFORM_GPIO_Port, &GPIO_InitStruct);

  /* EXTI interrupt init*/
  HAL_NVIC_SetPriority(EXTI0_IRQn, 0, 0);
  HAL_NVIC_EnableIRQ(EXTI0_IRQn);

  HAL_NVIC_SetPriority(EXTI9_5_IRQn, 0, 0);
  HAL_NVIC_EnableIRQ(EXTI9_5_IRQn);

  HAL_NVIC_SetPriority(EXTI15_10_IRQn, 0, 0);
  HAL_NVIC_EnableIRQ(EXTI15_10_IRQn);

}

void Error_Handler(void)
{
  __disable_irq();
  while (1)
  {
  }
}

/************************ (C) COPYRIGHT STMicroelectronics *****END OF FILE****/
